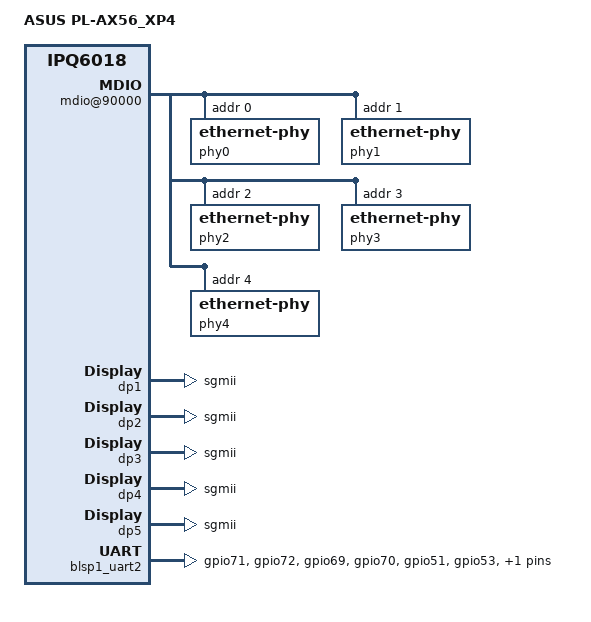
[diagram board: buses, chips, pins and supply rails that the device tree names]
/*
 * Copyright (c) 2019, The Linux Foundation. All rights reserved.
 *
 * Permission to use, copy, modify, and/or distribute this software for any
 * purpose with or without fee is hereby granted, provided that the above
 * copyright notice and this permission notice appear in all copies.
 *
 * THE SOFTWARE IS PROVIDED "AS IS" AND THE AUTHOR DISCLAIMS ALL WARRANTIES
 * WITH REGARD TO THIS SOFTWARE INCLUDING ALL IMPLIED WARRANTIES OF
 * MERCHANTABILITY AND FITNESS. IN NO EVENT SHALL THE AUTHOR BE LIABLE FOR
 * ANY SPECIAL, DIRECT, INDIRECT, OR CONSEQUENTIAL DAMAGES OR ANY DAMAGES
 * WHATSOEVER RESULTING FROM LOSS OF USE, DATA OR PROFITS, WHETHER IN AN
 * ACTION OF CONTRACT, NEGLIGENCE OR OTHER TORTIOUS ACTION, ARISING OUT OF
 * OR IN CONNECTION WITH THE USE OR PERFORMANCE OF THIS SOFTWARE.
 */

#include "../../../arm64/boot/dts/qcom/qcom-ipq6018-cp03-c1.dts"
#include "qcom-ipq6018.dtsi"

/ {
	#address-cells = <0x2>;
	#size-cells = <0x2>;
	model = "ASUS PL-AX56_XP4";
	compatible = "qcom,ipq6018-cp03", "qcom,ipq6018";
	interrupt-parent = <&intc>;

	aliases {
                serial0 = &blsp1_uart3;
                serial1 = &blsp1_uart2;
		/*
		 * Aliases as required by u-boot
		 * to patch MAC addresses
		 */
		ethernet0 = "/soc/dp1";
		ethernet1 = "/soc/dp2";
                ethernet2 = "/soc/dp3";
                ethernet3 = "/soc/dp4";
                ethernet4 = "/soc/dp5";
	};
};

&tlmm {
        hsuart_pins: hsuart_pins {
                mux {
                        pins = "gpio71", "gpio72", "gpio69", "gpio70";
                        function = "blsp1_uart";
                        drive-strength = <8>;
                        bias-disable;
                };
        };

        btcoex_pins: btcoex_pins {
                mux_0 {
                        pins = "gpio51";
                        function = "pta1_1";
                        drive-strength = <6>;
                        bias-pull-down;
                };
                mux_1 {
                        pins = "gpio53";
                        function = "pta1_0";
                        drive-strength = <6>;
                        bias-pull-down;
                };
                mux_2 {
                        pins = "gpio52";
                        function = "pta1_2";
                        drive-strength = <6>;
                        bias-pull-down;
                };
        };
};

&soc {
	mdio@90000 {
		pinctrl-0 = <&mdio_pins>;
		pinctrl-names = "default";
		phy-reset-gpio = <&tlmm 75 0>;
		status = "ok";
		phy0: ethernet-phy@0 {
			reg = <0>;
		};
		phy1: ethernet-phy@1 {
			reg = <1>;
		};
                phy2: ethernet-phy@2 {
                        reg = <2>;
                };
                phy3: ethernet-phy@3 {
                        reg = <3>;
                };
                phy4: ethernet-phy@4 {
                        reg = <4>;
                };
	};

	ess-switch@3a000000 {
		switch_cpu_bmp = <0x1>;  /* cpu port bitmap */
		switch_lan_bmp = <0x1e>; /* lan port bitmap */
		switch_wan_bmp = <0x20>; /* wan port bitmap */
		switch_inner_bmp = <0xc0>; /*inner port bitmap*/
		switch_mac_mode = <0x0>; /* mac mode for uniphy instance0*/
		switch_mac_mode1 = <0xff>; /* mac mode for uniphy instance1*/
		switch_mac_mode2 = <0xff>; /* mac mode for uniphy instance2*/
		qcom,port_phyinfo {
                        port@0 {
                                port_id = <1>;
                                phy_address = <0>;
                        };
                        port@1 {
                                port_id = <2>;
                                phy_address = <1>;
                        };
                        port@2 {
                                port_id = <3>;
                                phy_address = <2>;
                        };
			port@3 {
				port_id = <4>;
				phy_address = <3>;
			};
			port@4 {
				port_id = <5>;
				phy_address = <4>;
			};
		};
	};

	dp1 {
		device_type = "network";
		compatible = "qcom,nss-dp";
		qcom,id = <1>;
		reg = <0x3a001000 0x200>;
		qcom,mactype = <0>;
		local-mac-address = [000000000000];
		qcom,link-poll = <1>;
		qcom,phy-mdio-addr = <0>;
		phy-mode = "sgmii";
	};

	dp2 {
		device_type = "network";
		compatible = "qcom,nss-dp";
		qcom,id = <2>;
		reg = <0x3a001200 0x200>;
		qcom,mactype = <0>;
		local-mac-address = [000000000000];
		qcom,link-poll = <1>;
		qcom,phy-mdio-addr = <1>;
		phy-mode = "sgmii";
		keep-forward = <1>;
	};

        dp3 {
                device_type = "network";
                compatible = "qcom,nss-dp";
                qcom,id = <3>;
                reg = <0x3a001400 0x200>;
                qcom,mactype = <0>;
                local-mac-address = [000000000000];
                qcom,link-poll = <1>;
                qcom,phy-mdio-addr = <2>;
                phy-mode = "sgmii";
        };

        dp4 {
                device_type = "network";
                compatible = "qcom,nss-dp";
                qcom,id = <4>;
                reg = <0x3a001600 0x200>;
                qcom,mactype = <0>;
                local-mac-address = [000000000000];
                qcom,link-poll = <1>;
                qcom,phy-mdio-addr = <3>;
                phy-mode = "sgmii";
        };

        dp5 {
                device_type = "network";
                compatible = "qcom,nss-dp";
                qcom,id = <5>;
                reg = <0x3a001800 0x200>;
                qcom,mactype = <0>;
                local-mac-address = [000000000000];
                qcom,link-poll = <1>;
                qcom,phy-mdio-addr = <4>;
                phy-mode = "sgmii";
        };

	leds {
	        status = "disabled";
	};

	serial@78b0000 {
	        status = "disabled";
	};

	blsp1_uart2: serial@78b0000 {
	        status = "ok";
	};
};

&blsp1_uart2 {
        pinctrl-0 = <&hsuart_pins &btcoex_pins>;
        pinctrl-names = "default";
        dmas = <&blsp_dma 2>,
                <&blsp_dma 3>;
        dma-names = "tx", "rx";
        status = "ok";
};
